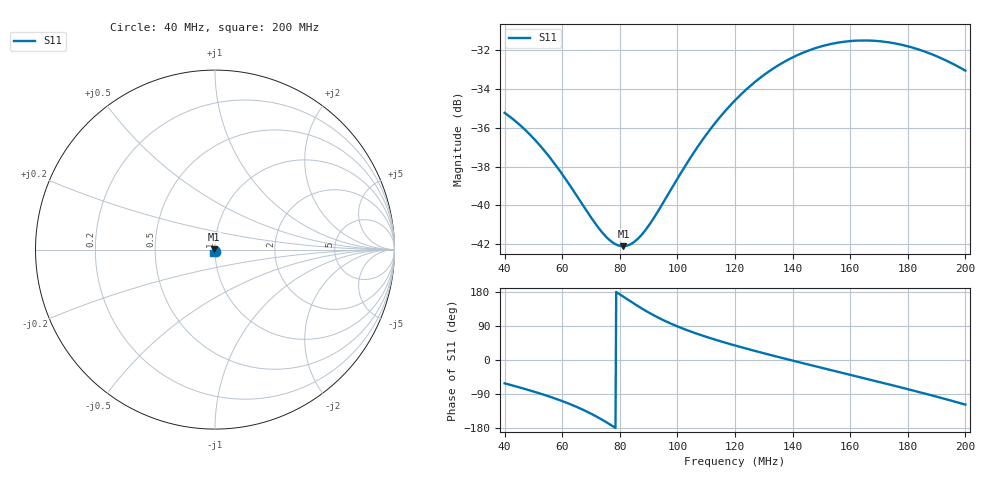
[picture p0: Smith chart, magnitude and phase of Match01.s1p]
# Hz S RI R 50
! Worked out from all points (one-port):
!   641 points, 40 MHz to 200 MHz, reference 50 ohm
!   lowest |S11| = -42.1 dB at 81.25 MHz (marker M1), VSWR 1.02, Z = 49.2 + j0.173 ohm
!   |S11| at or under -10 dB: start of sweep to end of sweep
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4e7  0.00825 -0.0152
4.45e7  0.00534 -0.0154
4.975e7  0.00197 -0.0148
5.475e7  -0.00105 -0.0135
6e7  -0.00381 -0.0114
6.975e7  -0.00725 -0.00595
7.325e7  -0.00782 -0.00366
7.675e7  -0.00801 -0.00129
8e7  -0.00782 0.000913
8.125e7  -0.00766 0.00175
8.45e7  -0.007 0.00389
8.825e7  -0.00583 0.00621
9.25e7  -0.00401 0.00857
1e8  0.000266 0.0117
1.0525e8  0.00386 0.013
1.1025e8  0.00752 0.0133
1.15e8  0.0111 0.0129
1.2e8  0.0146 0.0116
1.2475e8  0.0177 0.00957
1.2975e8  0.0205 0.00677
1.3475e8  0.0227 0.00337
1.4e8  0.0241 -0.000672
1.5e8  0.0241 -0.00896
1.6e8  0.0206 -0.0167
1.7e8  0.0141 -0.0224
1.8e8  0.00583 -0.025
1.8925e8  -0.00222 -0.0243
2e8  -0.0103 -0.0197
